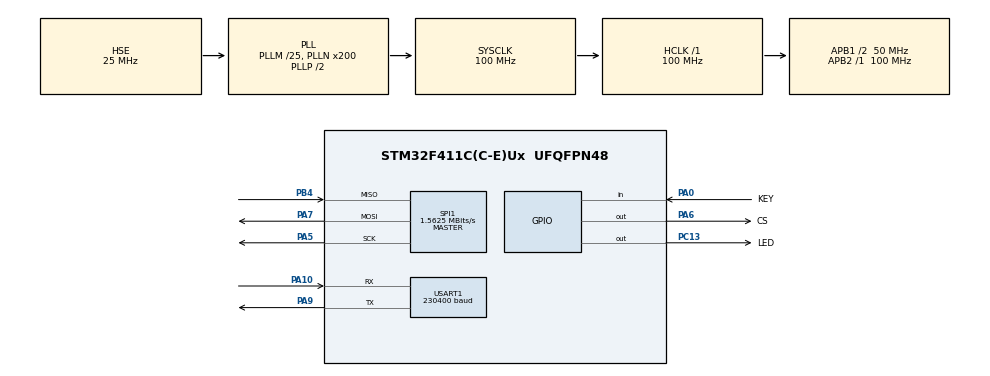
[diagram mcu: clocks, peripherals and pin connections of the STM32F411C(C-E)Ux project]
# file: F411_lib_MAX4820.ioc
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Mcu.Family=STM32F4
RCC.PLLSourceVirtual=RCC_PLLSOURCE_HSE
RCC.CortexFreq_Value=100000000
PA7.Mode=Full_Duplex_Master
PA10.Mode=Asynchronous
SPI1.VirtualType=VM_MASTER
PC13-ANTI_TAMP.GPIO_Label=LED
USART1.BaudRate=230400
PH1\ -\ OSC_OUT.Mode=HSE-External-Oscillator
PA6.GPIO_Label=CS
RCC.APB1CLKDivider=RCC_HCLK_DIV2
RCC.SYSCLKSource=RCC_SYSCLKSOURCE_PLLCLK
ProjectManager.StackSize=0x400
PA0-WKUP.GPIO_Label=KEY
PA0-WKUP.Signal=GPIO_Input
PA13.Signal=SYS_JTMS-SWDIO
PA9.Mode=Asynchronous
PH0\ -\ OSC_IN.Mode=HSE-External-Oscillator
PH0\ -\ OSC_IN.Signal=RCC_OSC_IN
ProjectManager.TargetToolchain=STM32CubeIDE
SPI1.Direction=SPI_DIRECTION_2LINES
RCC.HCLKFreq_Value=100000000
RCC.APB2TimFreq_Value=100000000
PA9.Signal=USART1_TX
SPI1.CalculateBaudRate=1.5625 MBits/s
RCC.LSE_VALUE=32768
PA7.GPIO_PuPd=GPIO_NOPULL
RCC.AHBFreq_Value=100000000
PA5.Signal=SPI1_SCK
RCC.HSE_VALUE=25000000
PH1\ -\ OSC_OUT.Signal=RCC_OSC_OUT
board=custom
PC13-ANTI_TAMP.Signal=GPIO_Output
RCC.VCOOutputFreq_Value=200000000
RCC.APB2Freq_Value=100000000
PA6.GPIO_PuPd=GPIO_PULLDOWN
PB4.Mode=Full_Duplex_Master
SPI1.Mode=SPI_MODE_MASTER
PA14.Mode=Serial_Wire
PA5.GPIO_PuPd=GPIO_NOPULL
PA13.Mode=Serial_Wire
Mcu.Name=STM32F411C(C-E)Ux
RCC.48MHZClocksFreq_Value=50000000
RCC.SYSCLKFreq_VALUE=100000000
Mcu.Package=UFQFPN48
PA6.Signal=GPIO_Output
USART1.VirtualMode=VM_ASYNC
PA10.Signal=USART1_RX
PA14.Signal=SYS_JTCK-SWCLK
ProjectManager.HeapSize=0x200
RCC.HSI_VALUE=16000000
NVIC.PriorityGroup=NVIC_PRIORITYGROUP_4
RCC.PLLM=25
RCC.PLLN=200
RCC.APB1TimFreq_Value=100000000
PA6.GPIO_Speed=GPIO_SPEED_FREQ_VERY_HIGH
RCC.APB1Freq_Value=50000000
SPI1.BaudRatePrescaler=SPI_BAUDRATEPRESCALER_64
PB4.Signal=SPI1_MISO
PA5.Mode=Full_Duplex_Master
PA7.Signal=SPI1_MOSI

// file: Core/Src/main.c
/* USER CODE BEGIN Header */
/**
  ******************************************************************************
  * @file           : main.c
  * @brief          : Main program body
  ******************************************************************************
  * @attention
  *
  * <h2><center>&copy; Copyright (c) 2021 STMicroelectronics.
  * All rights reserved.</center></h2>
  *
  * This software component is licensed by ST under BSD 3-Clause license,
  * the "License"; You may not use this file except in compliance with the
  * License. You may obtain a copy of the License at:
  *                        opensource.org/licenses/BSD-3-Clause
  *
  ******************************************************************************
  */
/* USER CODE END Header */
#include "main.h"

/* USER CODE BEGIN Includes */
#include "max4820.h"
/* USER CODE END Includes */

SPI_HandleTypeDef hspi1;

UART_HandleTypeDef huart1;

void SystemClock_Config(void);
static void MX_GPIO_Init(void);
static void MX_SPI1_Init(void);
static void MX_USART1_UART_Init(void);

int main(void)
{

  /* MCU Configuration--------------------------------------------------------*/

  /* Reset of all peripherals, Initializes the Flash interface and the Systick. */
  HAL_Init();

  /* Configure the system clock */
  SystemClock_Config();

  /* Initialize all configured peripherals */
  MX_GPIO_Init();
  MX_SPI1_Init();
  MX_USART1_UART_Init();
  /* USER CODE BEGIN 2 */
  HAL_Delay(2000);
  uart_print("Hello");

  MAX_TypeDefChip max;
  max_init(&max);

  max.chip[0] = 0x00;
  max.chip[1] = 0xFF;
  max.chip[2] = 0x00;
  max.chip[3] = 0x55;
  max_set_out(&max);

  HAL_Delay(25);

  max.chip[0] = 0x00;
  max.chip[1] = 0x00;
  max.chip[2] = 0x00;
  max.chip[3] = 0xAA;
  max_set_out(&max);

  uint8_t buf[4] = {0xFF, 0xFF, 0xFF, 0xFF};
  max_read(&max, &buf[0]);

  HAL_GPIO_WritePin(LED_GPIO_Port, LED_Pin, GPIO_PIN_SET);

  /* USER CODE END 2 */

  /* Infinite loop */
  while (1)
  {

  }
}

void SystemClock_Config(void)
{
  RCC_OscInitTypeDef RCC_OscInitStruct = {0};
  RCC_ClkInitTypeDef RCC_ClkInitStruct = {0};

  /** Configure the main internal regulator output voltage
  */
  __HAL_RCC_PWR_CLK_ENABLE();
  __HAL_PWR_VOLTAGESCALING_CONFIG(PWR_REGULATOR_VOLTAGE_SCALE1);
  /** Initializes the RCC Oscillators according to the specified parameters
  * in the RCC_OscInitTypeDef structure.
  */
  RCC_OscInitStruct.OscillatorType = RCC_OSCILLATORTYPE_HSE;
  RCC_OscInitStruct.HSEState = RCC_HSE_ON;
  RCC_OscInitStruct.PLL.PLLState = RCC_PLL_ON;
  RCC_OscInitStruct.PLL.PLLSource = RCC_PLLSOURCE_HSE;
  RCC_OscInitStruct.PLL.PLLM = 25;
  RCC_OscInitStruct.PLL.PLLN = 200;
  RCC_OscInitStruct.PLL.PLLP = RCC_PLLP_DIV2;
  RCC_OscInitStruct.PLL.PLLQ = 4;
  if (HAL_RCC_OscConfig(&RCC_OscInitStruct) != HAL_OK)
  {
    Error_Handler();
  }
  /** Initializes the CPU, AHB and APB buses clocks
  */
  RCC_ClkInitStruct.ClockType = RCC_CLOCKTYPE_HCLK|RCC_CLOCKTYPE_SYSCLK
                              |RCC_CLOCKTYPE_PCLK1|RCC_CLOCKTYPE_PCLK2;
  RCC_ClkInitStruct.SYSCLKSource = RCC_SYSCLKSOURCE_PLLCLK;
  RCC_ClkInitStruct.AHBCLKDivider = RCC_SYSCLK_DIV1;
  RCC_ClkInitStruct.APB1CLKDivider = RCC_HCLK_DIV2;
  RCC_ClkInitStruct.APB2CLKDivider = RCC_HCLK_DIV1;

  if (HAL_RCC_ClockConfig(&RCC_ClkInitStruct, FLASH_LATENCY_3) != HAL_OK)
  {
    Error_Handler();
  }
}

static void MX_SPI1_Init(void)
{

  /* SPI1 parameter configuration*/
  hspi1.Instance = SPI1;
  hspi1.Init.Mode = SPI_MODE_MASTER;
  hspi1.Init.Direction = SPI_DIRECTION_2LINES;
  hspi1.Init.DataSize = SPI_DATASIZE_8BIT;
  hspi1.Init.CLKPolarity = SPI_POLARITY_LOW;
  hspi1.Init.CLKPhase = SPI_PHASE_1EDGE;
  hspi1.Init.NSS = SPI_NSS_SOFT;
  hspi1.Init.BaudRatePrescaler = SPI_BAUDRATEPRESCALER_64;
  hspi1.Init.FirstBit = SPI_FIRSTBIT_MSB;
  hspi1.Init.TIMode = SPI_TIMODE_DISABLE;
  hspi1.Init.CRCCalculation = SPI_CRCCALCULATION_DISABLE;
  hspi1.Init.CRCPolynomial = 10;
  if (HAL_SPI_Init(&hspi1) != HAL_OK)
  {
    Error_Handler();
  }

}

static void MX_USART1_UART_Init(void)
{

  huart1.Instance = USART1;
  huart1.Init.BaudRate = 230400;
  huart1.Init.WordLength = UART_WORDLENGTH_8B;
  huart1.Init.StopBits = UART_STOPBITS_1;
  huart1.Init.Parity = UART_PARITY_NONE;
  huart1.Init.Mode = UART_MODE_TX_RX;
  huart1.Init.HwFlowCtl = UART_HWCONTROL_NONE;
  huart1.Init.OverSampling = UART_OVERSAMPLING_16;
  if (HAL_UART_Init(&huart1) != HAL_OK)
  {
    Error_Handler();
  }

}

static void MX_GPIO_Init(void)
{
  GPIO_InitTypeDef GPIO_InitStruct = {0};

  /* GPIO Ports Clock Enable */
  __HAL_RCC_GPIOC_CLK_ENABLE();
  __HAL_RCC_GPIOH_CLK_ENABLE();
  __HAL_RCC_GPIOA_CLK_ENABLE();
  __HAL_RCC_GPIOB_CLK_ENABLE();

  /*Configure GPIO pin Output Level */
  HAL_GPIO_WritePin(LED_GPIO_Port, LED_Pin, GPIO_PIN_RESET);

  /*Configure GPIO pin Output Level */
  HAL_GPIO_WritePin(CS_GPIO_Port, CS_Pin, GPIO_PIN_RESET);

  /*Configure GPIO pin : LED_Pin */
  GPIO_InitStruct.Pin = LED_Pin;
  GPIO_InitStruct.Mode = GPIO_MODE_OUTPUT_PP;
  GPIO_InitStruct.Pull = GPIO_NOPULL;
  GPIO_InitStruct.Speed = GPIO_SPEED_FREQ_LOW;
  HAL_GPIO_Init(LED_GPIO_Port, &GPIO_InitStruct);

  /*Configure GPIO pin : KEY_Pin */
  GPIO_InitStruct.Pin = KEY_Pin;
  GPIO_InitStruct.Mode = GPIO_MODE_INPUT;
  GPIO_InitStruct.Pull = GPIO_NOPULL;
  HAL_GPIO_Init(KEY_GPIO_Port, &GPIO_InitStruct);

  /*Configure GPIO pin : CS_Pin */
  GPIO_InitStruct.Pin = CS_Pin;
  GPIO_InitStruct.Mode = GPIO_MODE_OUTPUT_PP;
  GPIO_InitStruct.Pull = GPIO_PULLDOWN;
  GPIO_InitStruct.Speed = GPIO_SPEED_FREQ_VERY_HIGH;
  HAL_GPIO_Init(CS_GPIO_Port, &GPIO_InitStruct);

}

void Error_Handler(void)
{
  __disable_irq();
  while (1)
  {
  }
}

/************************ (C) COPYRIGHT STMicroelectronics *****END OF FILE****/
